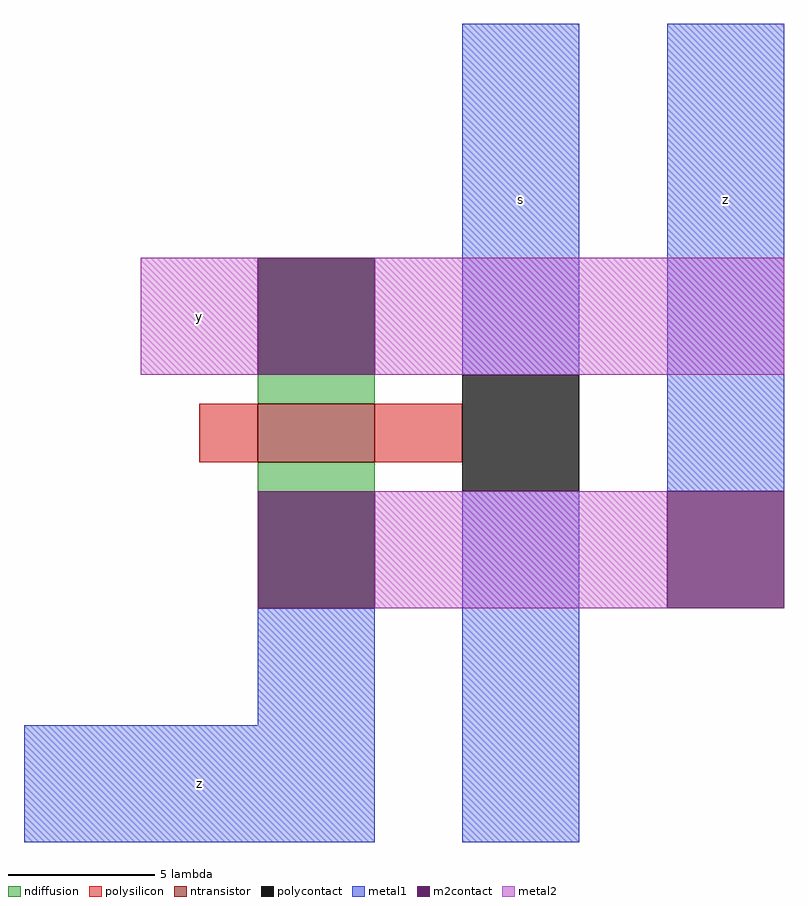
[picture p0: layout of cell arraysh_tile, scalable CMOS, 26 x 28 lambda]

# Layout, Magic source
magic
tech scmos
<< ntransistor >>
rect 4 13 8 15
<< ndiffusion >>
rect 4 15 8 20
rect 4 8 8 13
<< polysilicon >>
rect 2 13 4 15
rect 8 13 11 15
<< polycontact >>
rect 11 12 15 16
<< metal1 >>
rect 11 16 15 28
rect 4 4 8 8
rect -4 0 8 4
rect 11 0 15 12
rect 18 12 22 28
<< m2contact >>
rect 4 16 8 20
rect 4 8 8 12
rect 18 8 22 12
<< metal2 >>
rect 0 16 4 20
rect 8 16 22 20
rect 8 8 18 12
<< labels >>
rlabel metal1 2 2 2 2 2 z
rlabel metal2 2 18 2 18 3 y
rlabel metal1 13 22 13 22 1 s
rlabel metal1 20 22 20 22 7 z
<< end >>
